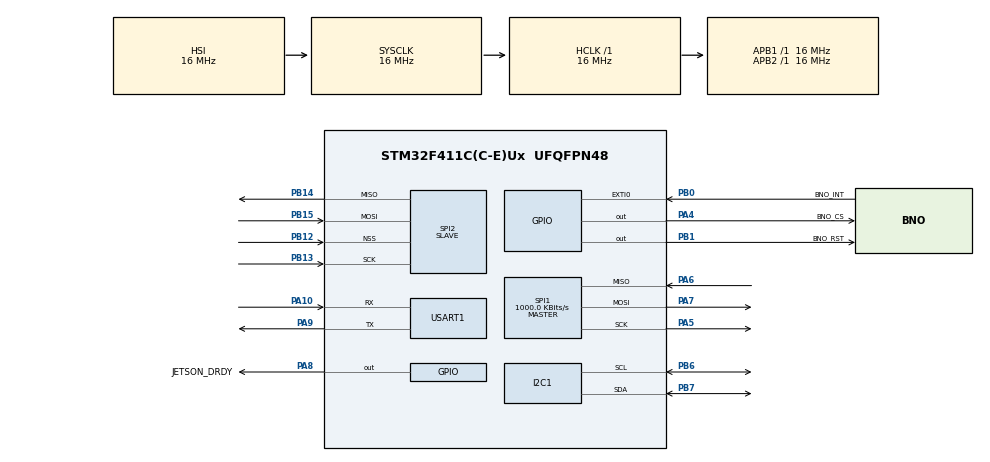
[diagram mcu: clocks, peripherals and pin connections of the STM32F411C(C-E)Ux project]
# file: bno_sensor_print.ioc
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Dma.Request0=USART1_TX
Dma.Request1=SPI2_RX
Dma.Request2=SPI2_TX
Dma.SPI2_RX.1.Direction=DMA_PERIPH_TO_MEMORY
Dma.SPI2_RX.1.FIFOMode=DMA_FIFOMODE_DISABLE
Dma.SPI2_RX.1.Instance=DMA1_Stream3
Dma.SPI2_RX.1.MemDataAlignment=DMA_MDATAALIGN_BYTE
Dma.SPI2_RX.1.MemInc=DMA_MINC_ENABLE
Dma.SPI2_RX.1.Mode=DMA_NORMAL
Dma.SPI2_RX.1.PeriphDataAlignment=DMA_PDATAALIGN_BYTE
Dma.SPI2_RX.1.PeriphInc=DMA_PINC_DISABLE
Dma.SPI2_RX.1.Priority=DMA_PRIORITY_LOW
Dma.SPI2_TX.2.Direction=DMA_MEMORY_TO_PERIPH
Dma.SPI2_TX.2.FIFOMode=DMA_FIFOMODE_DISABLE
Dma.SPI2_TX.2.Instance=DMA1_Stream4
Dma.SPI2_TX.2.MemDataAlignment=DMA_MDATAALIGN_BYTE
Dma.SPI2_TX.2.MemInc=DMA_MINC_ENABLE
Dma.SPI2_TX.2.Mode=DMA_NORMAL
Dma.SPI2_TX.2.PeriphDataAlignment=DMA_PDATAALIGN_BYTE
Dma.SPI2_TX.2.PeriphInc=DMA_PINC_DISABLE
Dma.SPI2_TX.2.Priority=DMA_PRIORITY_LOW
Dma.USART1_TX.0.Direction=DMA_MEMORY_TO_PERIPH
Dma.USART1_TX.0.FIFOMode=DMA_FIFOMODE_DISABLE
Dma.USART1_TX.0.Instance=DMA2_Stream7
Dma.USART1_TX.0.MemDataAlignment=DMA_MDATAALIGN_BYTE
Dma.USART1_TX.0.MemInc=DMA_MINC_ENABLE
Dma.USART1_TX.0.Mode=DMA_NORMAL
Dma.USART1_TX.0.PeriphDataAlignment=DMA_PDATAALIGN_BYTE
Dma.USART1_TX.0.PeriphInc=DMA_PINC_DISABLE
Dma.USART1_TX.0.Priority=DMA_PRIORITY_LOW
Mcu.Family=STM32F4
Mcu.Name=STM32F411C(C-E)Ux
Mcu.Package=UFQFPN48
NVIC.DMA1_Stream3_IRQn=true\:0\:0\:false\:false\:true\:false\:true\:true
NVIC.DMA1_Stream4_IRQn=true\:0\:0\:false\:false\:true\:false\:true\:true
NVIC.DMA2_Stream7_IRQn=true\:0\:0\:false\:false\:true\:false\:true\:true
NVIC.EXTI0_IRQn=true\:0\:0\:false\:false\:true\:true\:true\:true
NVIC.PriorityGroup=NVIC_PRIORITYGROUP_4
PA10.Mode=Asynchronous
PA10.Signal=USART1_RX
PA13.Mode=Serial_Wire
PA13.Signal=SYS_JTMS-SWDIO
PA14.Mode=Serial_Wire
PA14.Signal=SYS_JTCK-SWCLK
PA4.GPIO_Label=BNO_CS
PA4.GPIO_Speed=GPIO_SPEED_FREQ_HIGH
PA4.PinState=GPIO_PIN_SET
PA4.Signal=GPIO_Output
PA5.Mode=Full_Duplex_Master
PA5.Signal=SPI1_SCK
PA6.Mode=Full_Duplex_Master
PA6.Signal=SPI1_MISO
PA7.Mode=Full_Duplex_Master
PA7.Signal=SPI1_MOSI
PA8.GPIO_Label=JETSON_DRDY
PA8.Signal=GPIO_Output
PA9.Mode=Asynchronous
PA9.Signal=USART1_TX
PB0.GPIO_Label=BNO_INT
PB0.GPIO_ModeDefaultEXTI=GPIO_MODE_IT_FALLING
PB0.GPIO_PuPd=GPIO_PULLUP
PB0.Signal=GPXTI0
PB1.GPIO_Label=BNO_RST
PB1.PinState=GPIO_PIN_SET
PB1.Signal=GPIO_Output
PB12.Mode=NSS_Signal_Hard_Input
PB12.Signal=SPI2_NSS
PB13.Mode=Full_Duplex_Slave
PB13.Signal=SPI2_SCK
PB14.Mode=Full_Duplex_Slave
PB14.Signal=SPI2_MISO
PB15.Mode=Full_Duplex_Slave
PB15.Signal=SPI2_MOSI
PB6.Mode=I2C
PB6.Signal=I2C1_SCL
PB7.Mode=I2C
PB7.Signal=I2C1_SDA
ProjectManager.HeapSize=0x200
ProjectManager.StackSize=0x400
ProjectManager.TargetToolchain=STM32CubeIDE
RCC.AHBFreq_Value=16000000
RCC.APB1Freq_Value=16000000
RCC.APB2Freq_Value=16000000
RCC.CortexFreq_Value=16000000
RCC.HSE_VALUE=25000000
RCC.HSI_VALUE=16000000
RCC.LSE_VALUE=32768
RCC.SYSCLKFreq_VALUE=16000000
RCC.VCOOutputFreq_Value=192000000
SPI1.BaudRatePrescaler=SPI_BAUDRATEPRESCALER_16
SPI1.CLKPhase=SPI_PHASE_2EDGE
SPI1.CLKPolarity=SPI_POLARITY_HIGH
SPI1.CalculateBaudRate=1000.0 KBits/s
SPI1.Direction=SPI_DIRECTION_2LINES
SPI1.Mode=SPI_MODE_MASTER
SPI1.VirtualType=VM_MASTER
SPI2.Direction=SPI_DIRECTION_2LINES
SPI2.Mode=SPI_MODE_SLAVE
SPI2.VirtualNSS=VM_NSSHARD
SPI2.VirtualType=VM_SLAVE
USART1.VirtualMode=VM_ASYNC
board=custom

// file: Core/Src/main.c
/* USER CODE BEGIN Header */
/**
  ******************************************************************************
  * @file           : main.c
  * @brief          : Main program body
  ******************************************************************************
  * @attention
  *
  * Copyright (c) 2026 STMicroelectronics.
  * All rights reserved.
  *
  * This software is licensed under terms that can be found in the LICENSE file
  * in the root directory of this software component.
  * If no LICENSE file comes with this software, it is provided AS-IS.
  *
  ******************************************************************************
  */
/* USER CODE END Header */
#include "main.h"
#include "dma.h"
#include "i2c.h"
#include "spi.h"
#include "usart.h"
#include "gpio.h"

/* USER CODE BEGIN Includes */
#include <stdint.h>
#include <stdio.h>

#include "BNO080.h"
#include "Quaternion.h"
/* USER CODE END Includes */

/* USER CODE BEGIN PD */
#define BNO_CS_LOW()   HAL_GPIO_WritePin(GPIOA, GPIO_PIN_4, GPIO_PIN_RESET)
#define BNO_CS_HIGH()  HAL_GPIO_WritePin(GPIOA, GPIO_PIN_4, GPIO_PIN_SET)

#define BNO_RST_LOW()  HAL_GPIO_WritePin(GPIOB, GPIO_PIN_1, GPIO_PIN_RESET)
#define BNO_RST_HIGH() HAL_GPIO_WritePin(GPIOB, GPIO_PIN_1, GPIO_PIN_SET)
/* USER CODE END PD */

/* USER CODE BEGIN PV */
volatile uint8_t bno_int_flag = 0;

/* USER CODE END PV */

void SystemClock_Config(void);
/* USER CODE BEGIN PFP */
void HAL_GPIO_EXTI_Callback(uint16_t GPIO_Pin)
{
  if (GPIO_Pin == GPIO_PIN_0)   // PB0
  {
    bno_int_flag = 1;
  }
}

static void BNO_ResetPulse(void)
{
  BNO_RST_LOW();
  HAL_Delay(10);
  BNO_RST_HIGH();
  HAL_Delay(50);
}

/* USER CODE END PFP */

int main(void)
{

  /* MCU Configuration--------------------------------------------------------*/

  /* Reset of all peripherals, Initializes the Flash interface and the Systick. */
  HAL_Init();

  /* Configure the system clock */
  SystemClock_Config();

  /* Initialize all configured peripherals */
  MX_GPIO_Init();
  MX_DMA_Init();
  MX_USART1_UART_Init();
  MX_I2C1_Init();
  MX_SPI2_Init();
  MX_SPI1_Init();

  /* Infinite loop */
  while (1)
  {

    /* USER CODE BEGIN 3 */
	  printf("boot\r\n");

	  int ret = BNO080_Initialization();
	  printf("BNO080_Initialization ret=%d\r\n", ret);

	  // NOTE: in your driver, success returns 0 (it prints "...ok" then returns 0)
	  if (ret == 0) {
	      // 50,000 us = 50 ms = 20 Hz. Fits in uint16_t.
	      BNO080_enableGameRotationVector(50000);
	      printf("RotationVector enabled\r\n");
	  } else {
	      printf("BNO init FAILED\r\n");
	  }

	  static uint32_t last_ms = 0;
	  while(1){
		  if (BNO080_dataAvailable())
		  {
		    uint32_t now = HAL_GetTick();
		    if (now - last_ms >= 50) {
		      last_ms = now;

		      float q[4] = {
		        BNO080_getQuatI(),
		        BNO080_getQuatJ(),
		        BNO080_getQuatK(),
		        BNO080_getQuatReal()
		      };

		      Quaternion_Update(q);

		      printf("yaw: %7.5f\r\n",
		              BNO080_Yaw);
		    }
		  }

	  }

  }
  /* USER CODE END 3 */
}

void SystemClock_Config(void)
{
  RCC_OscInitTypeDef RCC_OscInitStruct = {0};
  RCC_ClkInitTypeDef RCC_ClkInitStruct = {0};

  /** Configure the main internal regulator output voltage
  */
  __HAL_RCC_PWR_CLK_ENABLE();
  __HAL_PWR_VOLTAGESCALING_CONFIG(PWR_REGULATOR_VOLTAGE_SCALE1);

  /** Initializes the RCC Oscillators according to the specified parameters
  * in the RCC_OscInitTypeDef structure.
  */
  RCC_OscInitStruct.OscillatorType = RCC_OSCILLATORTYPE_HSI;
  RCC_OscInitStruct.HSIState = RCC_HSI_ON;
  RCC_OscInitStruct.HSICalibrationValue = RCC_HSICALIBRATION_DEFAULT;
  RCC_OscInitStruct.PLL.PLLState = RCC_PLL_NONE;
  if (HAL_RCC_OscConfig(&RCC_OscInitStruct) != HAL_OK)
  {
    Error_Handler();
  }

  /** Initializes the CPU, AHB and APB buses clocks
  */
  RCC_ClkInitStruct.ClockType = RCC_CLOCKTYPE_HCLK|RCC_CLOCKTYPE_SYSCLK
                              |RCC_CLOCKTYPE_PCLK1|RCC_CLOCKTYPE_PCLK2;
  RCC_ClkInitStruct.SYSCLKSource = RCC_SYSCLKSOURCE_HSI;
  RCC_ClkInitStruct.AHBCLKDivider = RCC_SYSCLK_DIV1;
  RCC_ClkInitStruct.APB1CLKDivider = RCC_HCLK_DIV1;
  RCC_ClkInitStruct.APB2CLKDivider = RCC_HCLK_DIV1;

  if (HAL_RCC_ClockConfig(&RCC_ClkInitStruct, FLASH_LATENCY_0) != HAL_OK)
  {
    Error_Handler();
  }
}

void Error_Handler(void)
{
  __disable_irq();
  while (1)
  {
  }
}
